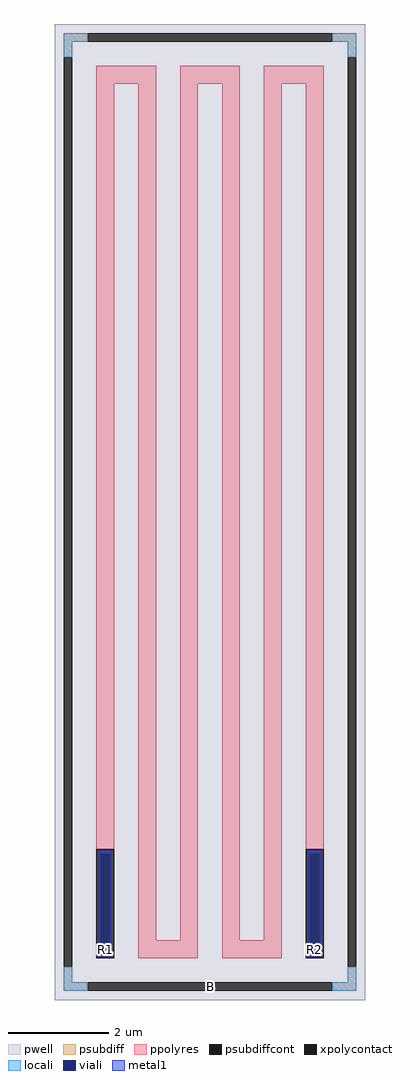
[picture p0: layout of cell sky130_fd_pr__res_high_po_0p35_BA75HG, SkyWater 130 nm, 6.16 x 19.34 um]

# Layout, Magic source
magic
tech sky130A
magscale 1 2
<< pwell >>
rect -616 -1934 616 1934
<< psubdiff >>
rect -580 1864 -484 1898
rect 484 1864 580 1898
rect -580 1802 -546 1864
rect 546 1802 580 1864
rect -580 -1864 -546 -1802
rect 546 -1864 580 -1802
rect -580 -1898 -484 -1864
rect 484 -1898 580 -1864
<< psubdiffcont >>
rect -484 1864 484 1898
rect -580 -1802 -546 1802
rect 546 -1802 580 1802
rect -484 -1898 484 -1864
<< xpolycontact >>
rect -450 -1768 -380 -1336
rect 380 -1768 450 -1336
<< ppolyres >>
rect -450 1698 -214 1768
rect -450 -1336 -380 1698
rect -284 -1698 -214 1698
rect -118 1698 118 1768
rect -118 -1698 -48 1698
rect -284 -1768 -48 -1698
rect 48 -1698 118 1698
rect 214 1698 450 1768
rect 214 -1698 284 1698
rect 48 -1768 284 -1698
rect 380 -1336 450 1698
<< locali >>
rect -580 1864 -484 1898
rect 484 1864 580 1898
rect -580 1802 -546 1864
rect 546 1802 580 1864
rect -580 -1864 -546 -1802
rect 546 -1864 580 -1802
rect -580 -1898 -484 -1864
rect 484 -1898 580 -1864
<< viali >>
rect -434 -1750 -396 -1353
rect 396 -1750 434 -1353
<< metal1 >>
rect -440 -1353 -390 -1341
rect -440 -1750 -434 -1353
rect -396 -1750 -390 -1353
rect -440 -1762 -390 -1750
rect 390 -1353 440 -1341
rect 390 -1750 396 -1353
rect 434 -1750 440 -1353
rect 390 -1762 440 -1750
<< labels >>
rlabel psubdiffcont 0 -1881 0 -1881 0 B
port 1 nsew
rlabel xpolycontact -415 -1733 -415 -1733 0 R1
port 2 nsew
rlabel xpolycontact 415 -1733 415 -1733 0 R2
port 3 nsew
<< properties >>
string FIXED_BBOX -563 -1881 563 1881
string gencell sky130_fd_pr__res_high_po_0p35
string library sky130
string parameters w 0.35 l 17.68 m 1 nx 6 wmin 0.350 lmin 0.50 class resistor rho 319.8 val 99.639k dummy 0 dw 0.0 term 194.82 sterm 0.0 caplen 0 guard 1 glc 1 grc 1 gtc 1 gbc 1 compatible {sky130_fd_pr__res_high_po_0p35  sky130_fd_pr__res_high_po_0p69 sky130_fd_pr__res_high_po_1p41  sky130_fd_pr__res_high_po_2p85 sky130_fd_pr__res_high_po_5p73} snake 1 full_metal 1 wmax 0.350 vias 1 n_guard 0 hv_guard 0 viagb 0 viagt 0 viagl 0 viagr 0 doports 1
<< end >>
